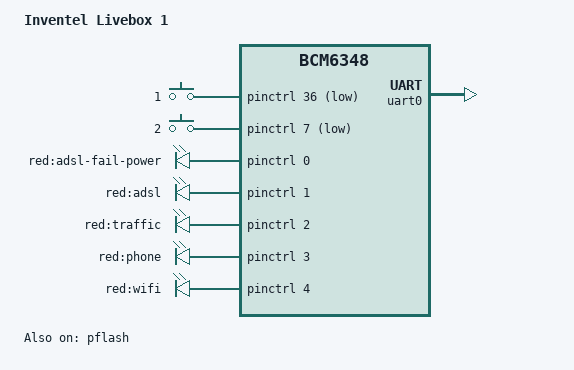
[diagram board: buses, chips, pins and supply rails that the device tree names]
#include "bcm6348.dtsi"

#include <dt-bindings/input/input.h>

/ {
	model = "Inventel Livebox 1";
	compatible = "inventel,livebox-1", "brcm,bcm6348";

	aliases {
		led-boot = &led_red_adsl_fail;
		led-failsafe = &led_red_adsl_fail;
		led-running = &led_red_adsl_fail;
		led-upgrade = &led_red_adsl_fail;
	};

	chosen {
		bootargs = "rootfstype=squashfs,jffs2 noinitrd console=ttyS0,115200";
		stdout-path = "serial0:115200n8";
	};

	keys {
		compatible = "gpio-keys-polled";
		#address-cells = <1>;
		#size-cells = <0>;
		poll-interval = <20>;

		button1 {
			label = "1";
			gpios = <&pinctrl 36 1>;
			linux,code = <KEY_RESTART>;
			debounce-interval = <60>;
		};

		button2 {
			label = "2";
			gpios = <&pinctrl 7 1>;
			linux,code = <BTN_2>;
			debounce-interval = <60>;
		};
	};

	leds {
		compatible = "gpio-leds";

		led_red_adsl_fail: red_adsl_fail {
			label = "red:adsl-fail-power";
			gpios = <&pinctrl 0 0>;
			default-state = "on";
		};

		red_adsl {
			label = "red:adsl";
			gpios = <&pinctrl 1 0>;
		};

		red_traffic {
			label = "red:traffic";
			gpios = <&pinctrl 2 0>;
		};

		red_phone {
			label = "red:phone";
			gpios = <&pinctrl 3 0>;
		};

		red_wifi {
			label = "red:wifi";
			gpios = <&pinctrl 4 0>;
		};
	};
};

&pflash {
	reg = <0x1e400000 0x800000>;
	status = "okay";

	partitions {
		compatible = "ecoscentric,redboot-fis-partitions";
	};
};

&pinctrl {
	pinctrl-names = "default";
	pinctrl-0 = <&pinctrl_pci &pinctrl_ext_mii &pinctrl_mii_pccard>;
};

&uart0 {
	status = "okay";
};
